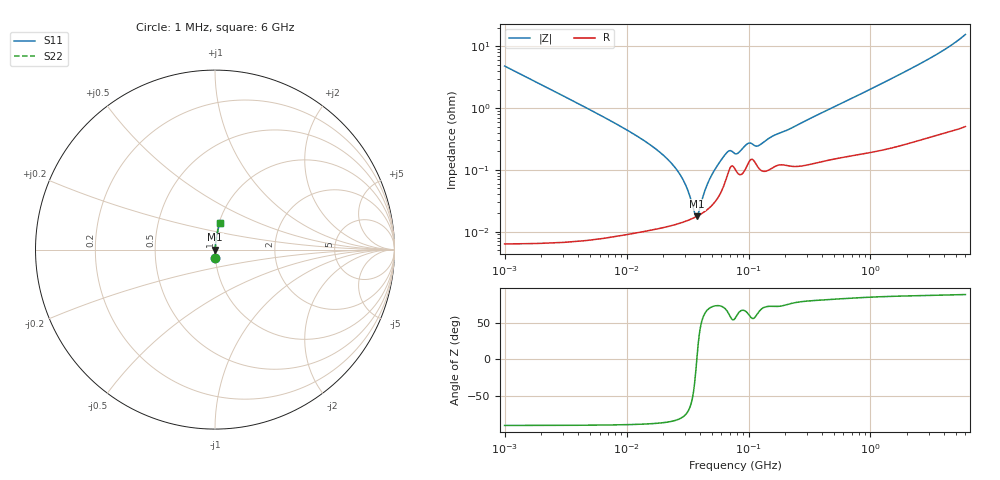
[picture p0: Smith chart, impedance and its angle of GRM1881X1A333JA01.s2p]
!Murata Part Number: GRM1881X1A333JA01
!These Parameters are Measured in Series Mode Connection
!Data Generated on Mar 30, 2021
!  o--ll--o
!Port1  Port2
!  o------o
!Operation Temp=25[degC], DC Bias Voltage=0[V]
!Freq. Start=1000[kHz] Stop=6[GHz] 401[Steps]
# Hz S RI R 50
!Freq.(Hz) S11(Real) S11(Imag) S21(Real) S21(Imag) S12(Real) S12(Imag) S22(Real) S22(Imag)
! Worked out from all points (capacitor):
!   401 points, 1 MHz to 6 GHz, reference 50 ohm
!   read as one part in series: C = 33.1 nF near 1.044 MHz
!   lowest |Z| = 17.8 mohm at 37.79 MHz (marker M1)
!   series resonance near 37.65 MHz, so ESL is about 540 pH
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1000000  0.00236 -0.0479  0.9976 0.0479  0.9976 0.0479  0.00236 -0.0479
4293785  0.000192 -0.011  0.9998 0.011  0.9998 0.011  0.000192 -0.011
1.0704e7  0.000108 -0.00412  0.9999 0.00412  0.9999 0.00412  0.000108 -0.00412
1.843659e7  0.000116 -0.00198  0.9999 0.00198  0.9999 0.00198  0.000116 -0.00198
2.341962e7  0.000127 -0.00126  0.9999 0.00126  0.9999 0.00126  0.000127 -0.00126
2.787038e7  0.000139 -0.000788  0.9999 0.000788  0.9999 0.000788  0.000139 -0.000788
3.175522e7  0.000152 -0.000445  0.9998 0.000445  0.9998 0.000445  0.000152 -0.000445
3.618157e7  0.00017 -0.000105  0.9998 0.000105  0.9998 0.000105  0.00017 -0.000105
3.779011e7  0.000177 9.5e-06  0.9998 -9.5e-06  0.9998 -9.5e-06  0.000177 9.5e-06
3.947016e7  0.000186 0.000124  0.9998 -0.000124  0.9998 -0.000124  0.000186 0.000124
4.596069e7  0.000228 0.000541  0.9998 -0.000541  0.9998 -0.000541  0.000228 0.000541
5.469524e7  0.000329 0.00107  0.9997 -0.00107  0.9997 -0.00107  0.000329 0.00107
6.798347e7  0.000891 0.00178  0.9991 -0.00178  0.9991 -0.00178  0.000891 0.00178
7.745967e7  0.00103 0.00151  0.999 -0.00151  0.999 -0.00151  0.00103 0.00151
8.268215e7  0.00086 0.00168  0.9991 -0.00168  0.9991 -0.00168  0.00086 0.00168
9.83954e7  0.00123 0.00236  0.9988 -0.00236  0.9988 -0.00236  0.00123 0.00236
1.223006e8  0.00105 0.00227  0.999 -0.00227  0.999 -0.00227  0.00105 0.00227
1.587717e8  0.0011 0.00337  0.9989 -0.00337  0.9989 -0.00337  0.0011 0.00337
3.325952e8  0.0013 0.00693  0.9987 -0.00693  0.9987 -0.00693  0.0013 0.00693
1.428092e9  0.00303 0.0286  0.997 -0.0286  0.997 -0.0286  0.00303 0.0286
3.408564e9  0.00868 0.0712  0.9913 -0.0712  0.9913 -0.0712  0.00868 0.0712
6e9  0.0283 0.1506  0.9717 -0.1506  0.9717 -0.1506  0.0283 0.1506
